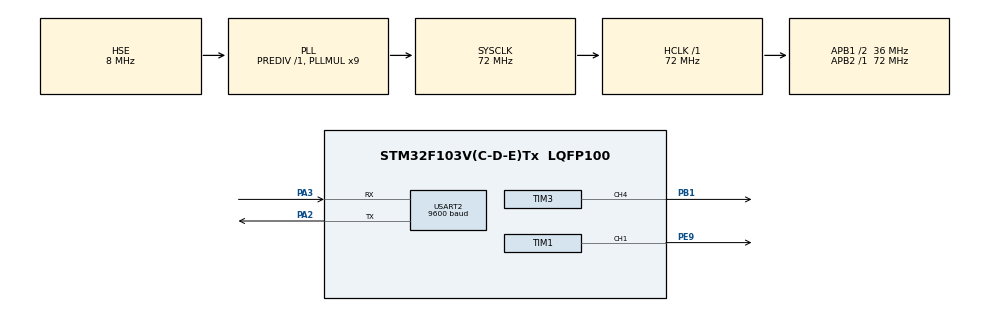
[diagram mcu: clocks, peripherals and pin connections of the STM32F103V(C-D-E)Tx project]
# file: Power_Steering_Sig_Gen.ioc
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Mcu.Family=STM32F1
Mcu.Name=STM32F103V(C-D-E)Tx
Mcu.Package=LQFP100
NVIC.PriorityGroup=NVIC_PRIORITYGROUP_4
NVIC.USART2_IRQn=true\:0\:0\:false\:false\:true\:true\:true
OSC_IN.Mode=HSE-External-Oscillator
OSC_IN.Signal=RCC_OSC_IN
OSC_OUT.Mode=HSE-External-Oscillator
OSC_OUT.Signal=RCC_OSC_OUT
PA13.Mode=Serial_Wire
PA13.Signal=SYS_JTMS-SWDIO
PA14.Mode=Serial_Wire
PA14.Signal=SYS_JTCK-SWCLK
PA2.Mode=Asynchronous
PA2.Signal=USART2_TX
PA3.Mode=Asynchronous
PA3.Signal=USART2_RX
PB1.Signal=S_TIM3_CH4
PE9.Signal=S_TIM1_CH1
ProjectManager.HeapSize=0x200
ProjectManager.StackSize=0x400
ProjectManager.TargetToolchain=STM32CubeIDE
RCC.AHBFreq_Value=72000000
RCC.APB1CLKDivider=RCC_HCLK_DIV2
RCC.APB1Freq_Value=36000000
RCC.APB1TimFreq_Value=72000000
RCC.APB2Freq_Value=72000000
RCC.APB2TimFreq_Value=72000000
RCC.HCLKFreq_Value=72000000
RCC.PLLMUL=RCC_PLL_MUL9
RCC.PLLSourceVirtual=RCC_PLLSOURCE_HSE
RCC.SYSCLKFreq_VALUE=72000000
RCC.SYSCLKSource=RCC_SYSCLKSOURCE_PLLCLK
RCC.USBFreq_Value=72000000
SH.S_TIM1_CH1.0=TIM1_CH1,Output Compare1 CH1
SH.S_TIM3_CH4.0=TIM3_CH4,PWM Generation4 CH4
TIM1.Channel-Output\ Compare1\ CH1=TIM_CHANNEL_1
TIM1.Period=1427
TIM1.Pulse-Output\ Compare1\ CH1=714
TIM3.Channel-PWM\ Generation4\ CH4=TIM_CHANNEL_4
TIM3.Period=1427
TIM3.Pulse-PWM\ Generation4\ CH4=714
USART2.BaudRate=9600
USART2.VirtualMode=VM_ASYNC
VP_TIM1_VS_ClockSourceINT.Mode=Internal
board=custom

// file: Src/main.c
/* USER CODE BEGIN Header */
/**
  ******************************************************************************
  * @file           : main.c
  * @brief          : Main program body
  ******************************************************************************
  * @attention
  *
  * <h2><center>&copy; Copyright (c) 2019 STMicroelectronics.
  * All rights reserved.</center></h2>
  *
  * This software component is licensed by ST under BSD 3-Clause license,
  * the "License"; You may not use this file except in compliance with the
  * License. You may obtain a copy of the License at:
  *                        opensource.org/licenses/BSD-3-Clause
  *
  ******************************************************************************
  */
/* USER CODE END Header */

#include "main.h"

/* USER CODE BEGIN Includes */

#include <stdlib.h>
#include <stdio.h>
#include <string.h>

/* USER CODE END Includes */

/* USER CODE BEGIN PD */

/**************************
 *
 * SPEED - PE9
 * RPM   - PB1
 *
 *************************/
#define SPEED_TIM		(TIM1)
#define SPEED_CHANNEL	(TIM_CHANNEL_1)
#define RPM_TIM			(TIM3)
#define RPM_CHANNEL		(TIM_CHANNEL_4)
#define UART_HANDLE		(huart2)

#define MAX_RECEIVE_BUFFER_SIZE			(100u)
#define MAX_SEND_BUFFER_SIZE			(100u)

/* USER CODE END PD */

TIM_HandleTypeDef htim1;
TIM_HandleTypeDef htim3;

UART_HandleTypeDef huart2;

/* USER CODE BEGIN PV */

uint8_t receive_buffer[MAX_RECEIVE_BUFFER_SIZE] = {0};
uint8_t send_buffer[MAX_SEND_BUFFER_SIZE] = {0};
volatile uint8_t receiveByte = 0;

/* USER CODE END PV */

void SystemClock_Config(void);
static void MX_GPIO_Init(void);
static void MX_USART2_UART_Init(void);
static void MX_TIM1_Init(void);
static void MX_TIM3_Init(void);
/* USER CODE BEGIN PFP */

void HAL_UART_RxCpltCallback(UART_HandleTypeDef *huart);
uint8_t Process_Message(char* MESSAGE);

/* USER CODE END PFP */

int main(void)
{

  /* MCU Configuration--------------------------------------------------------*/

  /* Reset of all peripherals, Initializes the Flash interface and the Systick. */
  HAL_Init();

  /* Configure the system clock */
  SystemClock_Config();

  /* Initialize all configured peripherals */
  MX_GPIO_Init();
  MX_USART2_UART_Init();
  MX_TIM1_Init();
  MX_TIM3_Init();
  /* USER CODE BEGIN 2 */

  HAL_TIM_PWM_Start(&htim1, TIM_CHANNEL_1);
  HAL_TIM_PWM_Start(&htim3, TIM_CHANNEL_4);

  HAL_UART_Receive_IT(&UART_HANDLE, &receiveByte, 1);

  SPEED_TIM->PSC = 1000;
  RPM_TIM->PSC = 1000;
  /* USER CODE END 2 */

  /* Infinite loop */
  while (1)
  {

  }
}

void SystemClock_Config(void)
{
  RCC_OscInitTypeDef RCC_OscInitStruct = {0};
  RCC_ClkInitTypeDef RCC_ClkInitStruct = {0};

  /** Initializes the CPU, AHB and APB busses clocks
  */
  RCC_OscInitStruct.OscillatorType = RCC_OSCILLATORTYPE_HSE;
  RCC_OscInitStruct.HSEState = RCC_HSE_ON;
  RCC_OscInitStruct.HSEPredivValue = RCC_HSE_PREDIV_DIV1;
  RCC_OscInitStruct.HSIState = RCC_HSI_ON;
  RCC_OscInitStruct.PLL.PLLState = RCC_PLL_ON;
  RCC_OscInitStruct.PLL.PLLSource = RCC_PLLSOURCE_HSE;
  RCC_OscInitStruct.PLL.PLLMUL = RCC_PLL_MUL9;
  if (HAL_RCC_OscConfig(&RCC_OscInitStruct) != HAL_OK)
  {
    Error_Handler();
  }
  /** Initializes the CPU, AHB and APB busses clocks
  */
  RCC_ClkInitStruct.ClockType = RCC_CLOCKTYPE_HCLK|RCC_CLOCKTYPE_SYSCLK
                              |RCC_CLOCKTYPE_PCLK1|RCC_CLOCKTYPE_PCLK2;
  RCC_ClkInitStruct.SYSCLKSource = RCC_SYSCLKSOURCE_PLLCLK;
  RCC_ClkInitStruct.AHBCLKDivider = RCC_SYSCLK_DIV1;
  RCC_ClkInitStruct.APB1CLKDivider = RCC_HCLK_DIV2;
  RCC_ClkInitStruct.APB2CLKDivider = RCC_HCLK_DIV1;

  if (HAL_RCC_ClockConfig(&RCC_ClkInitStruct, FLASH_LATENCY_2) != HAL_OK)
  {
    Error_Handler();
  }
}

static void MX_TIM1_Init(void)
{

  TIM_ClockConfigTypeDef sClockSourceConfig = {0};
  TIM_MasterConfigTypeDef sMasterConfig = {0};
  TIM_OC_InitTypeDef sConfigOC = {0};
  TIM_BreakDeadTimeConfigTypeDef sBreakDeadTimeConfig = {0};

  htim1.Instance = TIM1;
  htim1.Init.Prescaler = 0;
  htim1.Init.CounterMode = TIM_COUNTERMODE_UP;
  htim1.Init.Period = 1427;
  htim1.Init.ClockDivision = TIM_CLOCKDIVISION_DIV1;
  htim1.Init.RepetitionCounter = 0;
  htim1.Init.AutoReloadPreload = TIM_AUTORELOAD_PRELOAD_DISABLE;
  if (HAL_TIM_Base_Init(&htim1) != HAL_OK)
  {
    Error_Handler();
  }
  sClockSourceConfig.ClockSource = TIM_CLOCKSOURCE_INTERNAL;
  if (HAL_TIM_ConfigClockSource(&htim1, &sClockSourceConfig) != HAL_OK)
  {
    Error_Handler();
  }
  if (HAL_TIM_OC_Init(&htim1) != HAL_OK)
  {
    Error_Handler();
  }
  sMasterConfig.MasterOutputTrigger = TIM_TRGO_RESET;
  sMasterConfig.MasterSlaveMode = TIM_MASTERSLAVEMODE_DISABLE;
  if (HAL_TIMEx_MasterConfigSynchronization(&htim1, &sMasterConfig) != HAL_OK)
  {
    Error_Handler();
  }
  sConfigOC.OCMode = TIM_OCMODE_TIMING;
  sConfigOC.Pulse = 714;
  sConfigOC.OCPolarity = TIM_OCPOLARITY_HIGH;
  sConfigOC.OCNPolarity = TIM_OCNPOLARITY_HIGH;
  sConfigOC.OCFastMode = TIM_OCFAST_DISABLE;
  sConfigOC.OCIdleState = TIM_OCIDLESTATE_RESET;
  sConfigOC.OCNIdleState = TIM_OCNIDLESTATE_RESET;
  if (HAL_TIM_OC_ConfigChannel(&htim1, &sConfigOC, TIM_CHANNEL_1) != HAL_OK)
  {
    Error_Handler();
  }
  sBreakDeadTimeConfig.OffStateRunMode = TIM_OSSR_DISABLE;
  sBreakDeadTimeConfig.OffStateIDLEMode = TIM_OSSI_DISABLE;
  sBreakDeadTimeConfig.LockLevel = TIM_LOCKLEVEL_OFF;
  sBreakDeadTimeConfig.DeadTime = 0;
  sBreakDeadTimeConfig.BreakState = TIM_BREAK_DISABLE;
  sBreakDeadTimeConfig.BreakPolarity = TIM_BREAKPOLARITY_HIGH;
  sBreakDeadTimeConfig.AutomaticOutput = TIM_AUTOMATICOUTPUT_DISABLE;
  if (HAL_TIMEx_ConfigBreakDeadTime(&htim1, &sBreakDeadTimeConfig) != HAL_OK)
  {
    Error_Handler();
  }
  HAL_TIM_MspPostInit(&htim1);

}

static void MX_TIM3_Init(void)
{

  TIM_MasterConfigTypeDef sMasterConfig = {0};
  TIM_OC_InitTypeDef sConfigOC = {0};

  htim3.Instance = TIM3;
  htim3.Init.Prescaler = 0;
  htim3.Init.CounterMode = TIM_COUNTERMODE_UP;
  htim3.Init.Period = 1427;
  htim3.Init.ClockDivision = TIM_CLOCKDIVISION_DIV1;
  htim3.Init.AutoReloadPreload = TIM_AUTORELOAD_PRELOAD_DISABLE;
  if (HAL_TIM_PWM_Init(&htim3) != HAL_OK)
  {
    Error_Handler();
  }
  sMasterConfig.MasterOutputTrigger = TIM_TRGO_RESET;
  sMasterConfig.MasterSlaveMode = TIM_MASTERSLAVEMODE_DISABLE;
  if (HAL_TIMEx_MasterConfigSynchronization(&htim3, &sMasterConfig) != HAL_OK)
  {
    Error_Handler();
  }
  sConfigOC.OCMode = TIM_OCMODE_PWM1;
  sConfigOC.Pulse = 714;
  sConfigOC.OCPolarity = TIM_OCPOLARITY_HIGH;
  sConfigOC.OCFastMode = TIM_OCFAST_DISABLE;
  if (HAL_TIM_PWM_ConfigChannel(&htim3, &sConfigOC, TIM_CHANNEL_4) != HAL_OK)
  {
    Error_Handler();
  }
  HAL_TIM_MspPostInit(&htim3);

}

static void MX_USART2_UART_Init(void)
{

  huart2.Instance = USART2;
  huart2.Init.BaudRate = 9600;
  huart2.Init.WordLength = UART_WORDLENGTH_8B;
  huart2.Init.StopBits = UART_STOPBITS_1;
  huart2.Init.Parity = UART_PARITY_NONE;
  huart2.Init.Mode = UART_MODE_TX_RX;
  huart2.Init.HwFlowCtl = UART_HWCONTROL_NONE;
  huart2.Init.OverSampling = UART_OVERSAMPLING_16;
  if (HAL_UART_Init(&huart2) != HAL_OK)
  {
    Error_Handler();
  }

}

static void MX_GPIO_Init(void)
{

  /* GPIO Ports Clock Enable */
  __HAL_RCC_GPIOA_CLK_ENABLE();
  __HAL_RCC_GPIOB_CLK_ENABLE();
  __HAL_RCC_GPIOE_CLK_ENABLE();

}

/* USER CODE BEGIN 4 */

void HAL_UART_RxCpltCallback(UART_HandleTypeDef *huart)
{
	uint8_t error = 0;
	static uint16_t counter = 0;
	static uint8_t FLAG_needsCleaning = 0;
	uint16_t size = 0;

	if (1 == FLAG_needsCleaning)
	{
		memset(receive_buffer,'\0',(MAX_RECEIVE_BUFFER_SIZE*sizeof(receive_buffer[0])));
		memset(send_buffer,'\0',(MAX_SEND_BUFFER_SIZE*sizeof(send_buffer[0])));
//		memset(SCPI_buffer,'\0',(MAX_SCPI_ANSWER_BUFFER_SIZE*sizeof(SCPI_buffer[0])));
		FLAG_needsCleaning = 0;
	}

	if ('\r' != receiveByte && '\n' != receiveByte)
	{
		if (counter <= MAX_RECEIVE_BUFFER_SIZE)
		{
			receive_buffer[counter] = receiveByte;
		}
		++counter;
		HAL_UART_Receive_IT(&UART_HANDLE, &receiveByte, 1);
	}
	else
	{
		error = Process_Message(receive_buffer);
		if (0 != error)
		{
			size = sprintf(send_buffer, "!!Message incorrect!! \n\rReceived message: \"%s\"\n\r", receive_buffer);
			HAL_UART_Transmit_IT(&UART_HANDLE, send_buffer, size);
		}
		else
		{
			size = sprintf(send_buffer, "Done! \"\n\r");
			HAL_UART_Transmit_IT(&UART_HANDLE, send_buffer, size);
		}

		counter = 0;
		FLAG_needsCleaning = 1;
	}

	HAL_UART_Receive_IT(&UART_HANDLE, &receiveByte, 1);
}

uint8_t Process_Message(char *MESSAGE)
{
	uint8_t error = 0;
	uint16_t i = 0;		/* out iterator for "for" loops and so on */
	uint16_t j = 0;		/* out iterator for "for" loops and so on */
	uint16_t separatorIndex = 0;
	char Name[MAX_RECEIVE_BUFFER_SIZE] = {'\0'};
	char Value[MAX_RECEIVE_BUFFER_SIZE] = {'\0'};
	uint32_t value_int = 0;

	uint16_t messageLength = strlen(MESSAGE);

	if (0 == messageLength)
		error = -1;

	if (0 == error)
	{
		/* Here we set all the letters to be upper letters, so the message is case INsensitive :) */
		for (i = 0; i < messageLength; ++i)
		{
			if (MESSAGE[i] >= 97 && MESSAGE[i] <= 122)
			{
				MESSAGE[i] = MESSAGE[i] - 32;
			}
		}//for

		for (i = 0; i < messageLength; ++i)
		{
			if (';' == MESSAGE[i])
			{
				separatorIndex = i;
				break;
			}
		}//for

		for (i = 0; i < separatorIndex; ++i)
		{
			Name[i] = MESSAGE[i];
		}//for

		j=0;
		for (i = separatorIndex+1; i < messageLength; ++i)
		{
			Value[j] = MESSAGE[i];
			++j;
		}//for

		value_int = (uint32_t)(atol(Value));

		if (5000 < value_int)
			value_int = 5000;
	}//if

	if (!(strcmp("RPM", Name)))		/* strcmp returns 0 if positive match, that's why we need "!" */
		RPM_TIM->PSC = (uint16_t)(50455/value_int - 1);
	else
	{
		if (!(strcmp("SPEED", Name)))		/* strcmp returns 0 if positive match, that's why we need "!" */
			SPEED_TIM->PSC = (uint16_t)(50455/value_int - 1);
		else
			error = -2;
	}

	return error;
}

/* USER CODE END 4 */

void Error_Handler(void)
{
}

/************************ (C) COPYRIGHT STMicroelectronics *****END OF FILE****/
